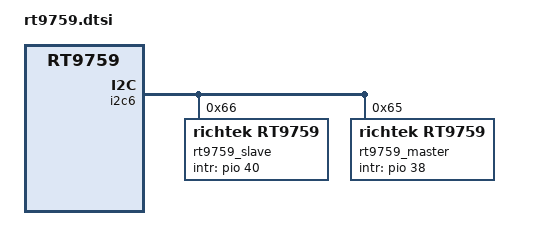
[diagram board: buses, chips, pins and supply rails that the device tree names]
// SPDX-License-Identifier: (GPL-2.0 OR MIT)
/*
 * Copyright (C) 2021 MediaTek Inc.
 */

&i2c6 {
	#address-cells = <1>;
	#size-cells = <0>;
	rt9759_slave@66 {
		compatible = "richtek,rt9759";
		status = "okay";
		reg = <0x66>;
		/* Please modify this to rt9759_slave if there is dual rt9759 */
		rm_name = "rt9759_slave";
		rm_slave_addr = /bits/ 8 <0x66>;
		rt9759,intr-gpios = <&pio 40 0x0>;
		standalone {
			chg_name = "primary_dvchg";
			vbatovp = <4500000>;
			vbatovp_alm = <4400000>;
			ibatocp = <6100000>;
			ibatocp_alm = <6000000>;
			ibatucp_alm = <1000000>;
			vbusovp = <10000000>;
			vbusovp_alm = <9000000>;
			ibusocp = <4250000>;
			ibusocp_alm = <4000000>;
			vacovp = <11000000>;
			wdt = <30000000>;
			ibat_rsense = <0>; /* 0: 2mohm, 1: 5mohm */
			ibusucpf_deglitch = <1>; /* 0: 10us, 1: 5ms */
			/* vbatovp_dis; */
			/* vbatovp_alm_dis; */
			/* ibatocp_dis; */
			ibatocp_alm_dis;
			ibatucp_alm_dis;
			/* vbusovp_alm_dis; */
			/* ibusocp_dis; */
			ibusocp_alm_dis;
			/* wdt_dis; */
			/* tsbusotp_dis; */
			/* tsbatotp_dis; */
			/* tdieotp_dis; */
			/* reg_en; */
			/* voutovp_dis; */
			/* ibusadc_dis; */
			/* vbusadc_dis; */
			/* vacadc_dis; */
			/* voutadc_dis; */
			/* vbatadc_dis; */
			/* ibatadc_dis; */
			/* tsbusadc_dis; */
			/* tsbatadc_dis; */
			/* tdieadc_dis; */
			ibat_rsense_half;
		};
		slave {
			chg_name = "secondary_dvchg";
			vbatovp = <4500000>;
			vbatovp_alm = <4400000>;
			ibatocp = <6100000>;
			ibatocp_alm = <6000000>;
			ibatucp_alm = <1000000>;
			vbusovp = <10000000>;
			vbusovp_alm = <9000000>;
			ibusocp = <4250000>;
			ibusocp_alm = <4000000>;
			vacovp = <11000000>;
			wdt = <1000000>;
			ibat_rsense = <0>; /* 0: 2mohm, 1: 5mohm */
			ibusucpf_deglitch = <1>; /* 0: 10us, 1: 5ms */
			vbatovp_dis;
			vbatovp_alm_dis;
			ibatocp_dis;
			ibatocp_alm_dis;
			ibatucp_alm_dis;
			vbusovp_alm_dis;
			/* ibusocp_dis; */
			ibusocp_alm_dis;
			wdt_dis;
			/* tsbusotp_dis; */
			/* tsbatotp_dis; */
			/* tdieotp_dis; */
			/* reg_en; */
			/* voutovp_dis; */
			/* ibusadc_dis; */
			/* vbusadc_dis; */
			/* vacadc_dis; */
			/* voutadc_dis; */
			vbatadc_dis;
			ibatadc_dis;
			/* tsbusadc_dis; */
			/* tsbatadc_dis; */
			/* tdieadc_dis; */
			ibat_rsense_half;
		};
	};
	rt9759_master@65 {
		compatible = "richtek,rt9759";
		status = "okay";
		reg = <0x65>;
		rm_name = "rt9759_master";
		rm_slave_addr = /bits/ 8 <0x65>;
		rt9759,intr-gpios = <&pio 38 0x0>;
		standalone {
			chg_name = "primary_dvchg";
			vbatovp = <4500000>;
			vbatovp_alm = <4400000>;
			ibatocp = <6100000>;
			ibatocp_alm = <6000000>;
			ibatucp_alm = <1000000>;
			vbusovp = <10000000>;
			vbusovp_alm = <9000000>;
			ibusocp = <4250000>;
			ibusocp_alm = <4000000>;
			vacovp = <11000000>;
			wdt = <30000000>;
			ibat_rsense = <0>; /* 0: 2mohm, 1: 5mohm */
			ibusucpf_deglitch = <1>; /* 0: 10us, 1: 5ms */
			/* vbatovp_dis; */
			/* vbatovp_alm_dis; */
			/* ibatocp_dis; */
			ibatocp_alm_dis;
			ibatucp_alm_dis;
			/* vbusovp_alm_dis; */
			/* ibusocp_dis; */
			ibusocp_alm_dis;
			/* wdt_dis; */
			/* tsbusotp_dis; */
			/* tsbatotp_dis; */
			/* tdieotp_dis; */
			/* reg_en; */
			/* voutovp_dis; */
			/* ibusadc_dis; */
			/* vbusadc_dis; */
			/* vacadc_dis; */
			/* voutadc_dis; */
			/* vbatadc_dis; */
			/* ibatadc_dis; */
			/* tsbusadc_dis; */
			/* tsbatadc_dis; */
			/* tdieadc_dis; */
			ibat_rsense_half;
		};
		master {
			chg_name = "primary_dvchg";
			vbatovp = <4500000>;
			vbatovp_alm = <4400000>;
			ibatocp = <6100000>;
			ibatocp_alm = <6000000>;
			ibatucp_alm = <1000000>;
			vbusovp = <10000000>;
			vbusovp_alm = <9000000>;
			ibusocp = <4250000>;
			ibusocp_alm = <4000000>;
			vacovp = <11000000>;
			wdt = <30000000>;
			ibat_rsense = <0>; /* 0: 2mohm, 1: 5mohm */
			ibusucpf_deglitch = <1>; /* 0: 10us, 1: 5ms */
			/* vbatovp_dis; */
			/* vbatovp_alm_dis; */
			/* ibatocp_dis; */
			ibatocp_alm_dis;
			/* ibatucp_alm_dis; */
			/* vbusovp_alm_dis; */
			/* ibusocp_dis; */
			ibusocp_alm_dis;
			/* wdt_dis; */
			tsbusotp_dis;
			tsbatotp_dis;
			/* tdieotp_dis; */
			/* reg_en; */
			/* voutovp_dis; */
			/* ibusadc_dis; */
			/* vbusadc_dis; */
			/* vacadc_dis; */
			/* voutadc_dis; */
			/* vbatadc_dis; */
			/* ibatadc_dis; */
			tsbusadc_dis;
			tsbatadc_dis;
			/* tdieadc_dis; */
			ibat_rsense_half;
		};
	};
};
